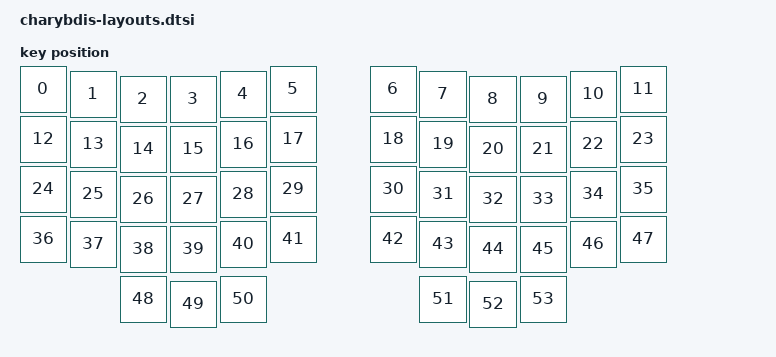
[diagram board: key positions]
#include <physical_layouts.dtsi>

/ {
    charybdis_4x6_layout: charybdis_4x6_layout {
        compatible = "zmk,physical-layout";
        display-name = "Charybdis 4x6";
        transform = <&default_transform>;
        kscan = <&kscan0>;

        //                        w   h     x     y   rot    rx    ry
        keys = // Left row 0
               <&key_physical_attrs 100 100     0     0     0     0     0>
             , <&key_physical_attrs 100 100   100    10     0     0     0>
             , <&key_physical_attrs 100 100   200    20     0     0     0>
             , <&key_physical_attrs 100 100   300    20     0     0     0>
             , <&key_physical_attrs 100 100   400    10     0     0     0>
             , <&key_physical_attrs 100 100   500     0     0     0     0>
               // Right row 0
             , <&key_physical_attrs 100 100   700     0     0     0     0>
             , <&key_physical_attrs 100 100   800    10     0     0     0>
             , <&key_physical_attrs 100 100   900    20     0     0     0>
             , <&key_physical_attrs 100 100  1000    20     0     0     0>
             , <&key_physical_attrs 100 100  1100    10     0     0     0>
             , <&key_physical_attrs 100 100  1200     0     0     0     0>
               // Left row 1
             , <&key_physical_attrs 100 100     0   100     0     0     0>
             , <&key_physical_attrs 100 100   100   110     0     0     0>
             , <&key_physical_attrs 100 100   200   120     0     0     0>
             , <&key_physical_attrs 100 100   300   120     0     0     0>
             , <&key_physical_attrs 100 100   400   110     0     0     0>
             , <&key_physical_attrs 100 100   500   100     0     0     0>
               // Right row 1
             , <&key_physical_attrs 100 100   700   100     0     0     0>
             , <&key_physical_attrs 100 100   800   110     0     0     0>
             , <&key_physical_attrs 100 100   900   120     0     0     0>
             , <&key_physical_attrs 100 100  1000   120     0     0     0>
             , <&key_physical_attrs 100 100  1100   110     0     0     0>
             , <&key_physical_attrs 100 100  1200   100     0     0     0>
               // Left row 2
             , <&key_physical_attrs 100 100     0   200     0     0     0>
             , <&key_physical_attrs 100 100   100   210     0     0     0>
             , <&key_physical_attrs 100 100   200   220     0     0     0>
             , <&key_physical_attrs 100 100   300   220     0     0     0>
             , <&key_physical_attrs 100 100   400   210     0     0     0>
             , <&key_physical_attrs 100 100   500   200     0     0     0>
               // Right row 2
             , <&key_physical_attrs 100 100   700   200     0     0     0>
             , <&key_physical_attrs 100 100   800   210     0     0     0>
             , <&key_physical_attrs 100 100   900   220     0     0     0>
             , <&key_physical_attrs 100 100  1000   220     0     0     0>
             , <&key_physical_attrs 100 100  1100   210     0     0     0>
             , <&key_physical_attrs 100 100  1200   200     0     0     0>
               // Left row 3
             , <&key_physical_attrs 100 100     0   300     0     0     0>
             , <&key_physical_attrs 100 100   100   310     0     0     0>
             , <&key_physical_attrs 100 100   200   320     0     0     0>
             , <&key_physical_attrs 100 100   300   320     0     0     0>
             , <&key_physical_attrs 100 100   400   310     0     0     0>
             , <&key_physical_attrs 100 100   500   300     0     0     0>
               // Right row 3
             , <&key_physical_attrs 100 100   700   300     0     0     0>
             , <&key_physical_attrs 100 100   800   310     0     0     0>
             , <&key_physical_attrs 100 100   900   320     0     0     0>
             , <&key_physical_attrs 100 100  1000   320     0     0     0>
             , <&key_physical_attrs 100 100  1100   310     0     0     0>
             , <&key_physical_attrs 100 100  1200   300     0     0     0>
               // Left thumb cluster (3 keys)
             , <&key_physical_attrs 100 100   200   420     0     0     0>
             , <&key_physical_attrs 100 100   300   430     0     0     0>
             , <&key_physical_attrs 100 100   400   420     0     0     0>
               // Right thumb cluster (3 keys)
             , <&key_physical_attrs 100 100   800   420     0     0     0>
             , <&key_physical_attrs 100 100   900   430     0     0     0>
             , <&key_physical_attrs 100 100  1000   420     0     0     0>
               ;
    };
};
